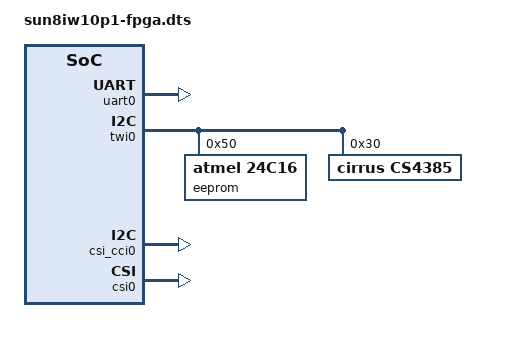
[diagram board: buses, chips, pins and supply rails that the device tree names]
/*
 * Allwinner Technology CO., Ltd. sun8iw10p1 fpga board.
 *
 * fpga board support.
 */

/dts-v1/;
#include "sun8iw10p1.dtsi"

/{

	soc@01c00000 {
		dma0:dma-controller@01c02000 {
			interrupts = <GIC_SPI 7 4>;
		};

		uart0: uart@01c28000 {
			interrupts = <GIC_SPI 1 IRQ_TYPE_LEVEL_HIGH>;           /* uart0 is IRQ33 on fpga */
			status = "okay";
		};

		twi0: twi@0x01c2ac00{
			interrupts = <GIC_SPI 2 IRQ_TYPE_LEVEL_HIGH>;           /* twi0 is IRQ34 on fpga */
			status = "okay";

			eeprom@50 {
				compatible = "atmel,24c16";
				reg = <0x50>;
			};
			cs4385@30 {
				compatible = "cirrus,cs4385";
				reg = <0x30>;
			};
		};

		spi0: spi@01c68000 {
			interrupts = <GIC_SPI 12 IRQ_TYPE_LEVEL_HIGH>;          /* spi0 is IRQ44 on fpga */
			status = "disabled";

			nor_flash@0 {
				#address-cells = <1>;
				#size-cells = <1>;
				compatible = "atmel,at25df641";
				spi-max-frequency = <50000000>;
				reg = <0>;	/* Chip select 0 */

				partition@0 {
					label = "NorFlash part0";
					reg = <0x00000000 0x00800000>;
				};
			};
		};
		csi_cci0:cci@0x01cb3000 {
			compatible = "allwinner,sunxi-csi_cci";
			reg = <0x0 0x01cb3000 0x0 0x1000>;	/*0x01cb3000--0x01cb4000*/
			interrupts = <GIC_SPI 2 4>;/*SUNXI_IRQ_CSI0_CCI (SUNXI_GIC_START + 2) = 34 on fpga*/
			status = "okay";
		};
		csi0:vfe@0 {
			device_type= "csi0";
			compatible = "allwinner,sunxi-vfe";
			interrupts = <GIC_SPI 5 4>;/*SUNXI_IRQ_CSI0 (SUNXI_GIC_START + 4 ) = 37 on fpga*/
			status = "okay";
		};
	};
};
